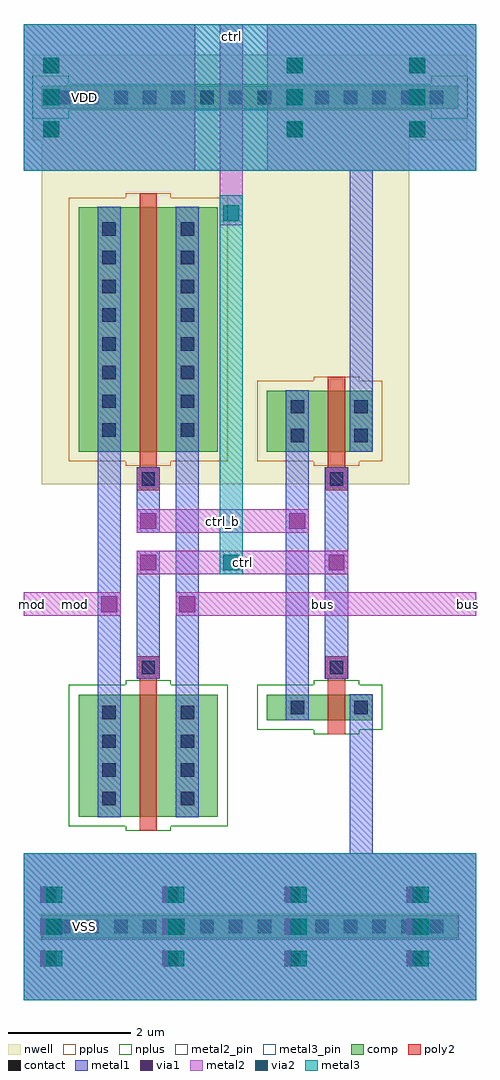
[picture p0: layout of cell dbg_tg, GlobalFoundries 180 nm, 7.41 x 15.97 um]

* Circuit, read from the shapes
.subckt dbg_tg VDD VSS bus ctrl ctrl_b mod
XM1 bus ctrl mod VSS nfet_03v3 w=2u l=0.28u
XM2 VSS ctrl ctrl_b VSS nfet_03v3 w=0.42u l=0.28u
XM3 bus ctrl_b mod VDD pfet_03v3 w=4u l=0.28u
XM4 VDD ctrl ctrl_b VDD pfet_03v3 w=1u l=0.28u
.ends

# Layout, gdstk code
import gdstk
lib = gdstk.Library(unit=1e-6, precision=1e-09)
def R(c, l, rs):  # rectangles x0, y0, x1, y1
    for r in rs: c.add(gdstk.rectangle(r[:2], r[2:], *l))
def A(c, l, x, y, w, h, nx, ny, dx, dy):  # array of equal rectangles
    R(c, l, [(x+i*dx, y+j*dy, x+i*dx+w, y+j*dy+h) for i in range(nx) for j in range(ny)])
nwell = (21, 0)
comp = (22, 0)
poly2 = (30, 0)
pplus = (31, 0)
nplus = (32, 0)
contact = (33, 0)
metal1 = (34, 0)
via1 = (35, 0)
metal2 = (36, 0)
metal2_pin = (36, 10)
via2 = (38, 0)
metal3 = (42, 0)
metal3_pin = (42, 10)

dbg_tg = lib.new_cell('dbg_tg')
R(dbg_tg, nwell, [(0.3,6.045,6.31,11.675), (0.15,11.675,7.26,13.075)])
R(dbg_tg, comp, [(0.3,-1.39,7.11,-1.01), (0.9,0.6,3.18,2.6), (3.98,2.18,5.71,2.6), (0.9,6.575,3.18,10.575), (3.98,6.575,5.71,7.575), (0.3,12.185,7.11,12.565)])
R(dbg_tg, poly2, [(1.9,0.37,2.18,2.86), (4.98,1.95,5.26,2.86), (1.855,2.86,2.225,3.23), (4.935,2.86,5.305,3.23), (1.855,5.945,2.225,6.315), (4.935,5.945,5.305,6.315), (1.9,6.315,2.18,10.805), (4.98,6.315,5.26,7.805)])
R(dbg_tg, pplus, [(0.28,-1.41,7.13,-0.99), (1.67,6.345,2.41,6.415), (4.75,6.345,5.49,6.415), (0.74,6.415,3.34,10.735), (3.82,6.415,5.87,7.735), (4.75,7.735,5.49,7.805), (1.67,10.735,2.41,10.805)])
R(dbg_tg, nplus, [(1.67,0.37,2.41,0.44), (0.74,0.44,3.34,2.76), (4.75,1.95,5.49,2.02), (3.82,2.02,5.87,2.76), (1.67,2.76,2.41,2.83), (4.75,2.76,5.49,2.83), (0.14,12.025,0.74,12.165), (6.67,12.025,7.27,12.165), (0.14,12.165,7.27,12.585), (0.14,12.585,0.74,12.725), (6.67,12.585,7.27,12.725)])
A(dbg_tg, contact, 0.54, -1.31, 0.22, 0.22, 14, 2, 0.47, 13.575)
A(dbg_tg, contact, 1.29, 0.785, 0.22, 0.22, 1, 4, 0, 0.47)
A(dbg_tg, contact, 2.57, 0.785, 0.22, 0.22, 1, 4, 0, 0.47)
A(dbg_tg, contact, 1.29, 6.82, 0.22, 0.22, 1, 8, 0, 0.47)
A(dbg_tg, contact, 2.57, 6.82, 0.22, 0.22, 1, 8, 0, 0.47)
R(dbg_tg, contact, [(4.37,2.28,4.59,2.5), (5.415,2.28,5.635,2.5), (1.93,2.935,2.15,3.155), (5.01,2.935,5.23,3.155), (1.93,6.02,2.15,6.24), (5.01,6.02,5.23,6.24), (4.37,6.73,4.59,6.95), (5.415,6.73,5.635,6.95), (4.37,7.2,4.59,7.42), (5.415,7.2,5.635,7.42)])
R(dbg_tg, metal1, [(0,-2.4,7.41,0), (5.335,0,5.715,2.605), (1.21,0.595,1.59,10.58), (2.49,0.595,2.87,10.58), (4.29,2.175,4.67,7.58), (1.85,2.855,2.23,4.95), (4.93,2.855,5.31,6.32), (1.85,5.25,2.23,6.32), (5.335,6.57,5.715,11.175), (0,11.175,7.41,13.575)])
A(dbg_tg, via1, 0.27, -1.85, 0.26, 0.26, 4, 3, 2, 0.52)
A(dbg_tg, via1, 0.32, 11.725, 0.26, 0.26, 1, 3, 0, 0.52)
A(dbg_tg, via1, 4.31, 11.725, 0.26, 0.26, 1, 3, 0, 0.52)
A(dbg_tg, via1, 6.31, 11.725, 0.26, 0.26, 1, 3, 0, 0.52)
R(dbg_tg, via1, [(1.27,3.95,1.53,4.21), (2.55,3.95,2.81,4.21), (1.91,4.63,2.17,4.89), (4.99,4.63,5.25,4.89), (1.91,5.31,2.17,5.57), (4.35,5.31,4.61,5.57)])
R(dbg_tg, metal2, [(0,-2.4,7.41,0), (0,3.89,1.59,4.27), (2.49,3.89,7.41,4.27), (1.85,4.57,5.31,4.95), (1.85,5.25,4.67,5.63), (3.21,10.285,3.59,13.575), (0,11.175,2.81,13.575), (3.99,11.175,7.41,13.575)])
R(dbg_tg, metal2_pin, [(0.1,4.03,0.2,4.13), (7.21,4.03,7.31,4.13), (3.35,13.325,3.45,13.425)])
A(dbg_tg, via2, 0.37, -1.85, 0.26, 0.26, 4, 3, 2, 0.52)
A(dbg_tg, via2, 0.32, 11.725, 0.26, 0.26, 1, 3, 0, 0.52)
A(dbg_tg, via2, 4.31, 11.725, 0.26, 0.26, 1, 3, 0, 0.52)
A(dbg_tg, via2, 6.31, 11.725, 0.26, 0.26, 1, 3, 0, 0.52)
R(dbg_tg, via2, [(3.27,4.63,3.53,4.89), (3.27,10.345,3.53,10.605)])
R(dbg_tg, metal3, [(0,-2.4,7.41,0), (3.21,4.57,3.59,10.775), (0,11.175,7.41,13.575)])
R(dbg_tg, metal3_pin, [(0.95,-1.25,1.05,-1.15), (0.95,12.325,1.05,12.425)])
dbg_tg.add(gdstk.Label('mod', (0.85,4.08), layer=36, texttype=0))
dbg_tg.add(gdstk.Label('ctrl', (3.58,4.76), layer=36, texttype=0))
dbg_tg.add(gdstk.Label('ctrl_b', (3.26,5.44), layer=36, texttype=0))
dbg_tg.add(gdstk.Label('bus', (4.895,4.08), layer=36, texttype=0))
dbg_tg.add(gdstk.Label('ctrl', (3.4,13.375), layer=36, texttype=10))
dbg_tg.add(gdstk.Label('mod', (0.15,4.08), layer=36, texttype=10))
dbg_tg.add(gdstk.Label('bus', (7.26,4.08), layer=36, texttype=10))
dbg_tg.add(gdstk.Label('VSS', (1,-1.2), layer=42, texttype=10))
dbg_tg.add(gdstk.Label('VDD', (1,12.375), layer=42, texttype=10))

lib.write_gds('dbg_tg.gds')
